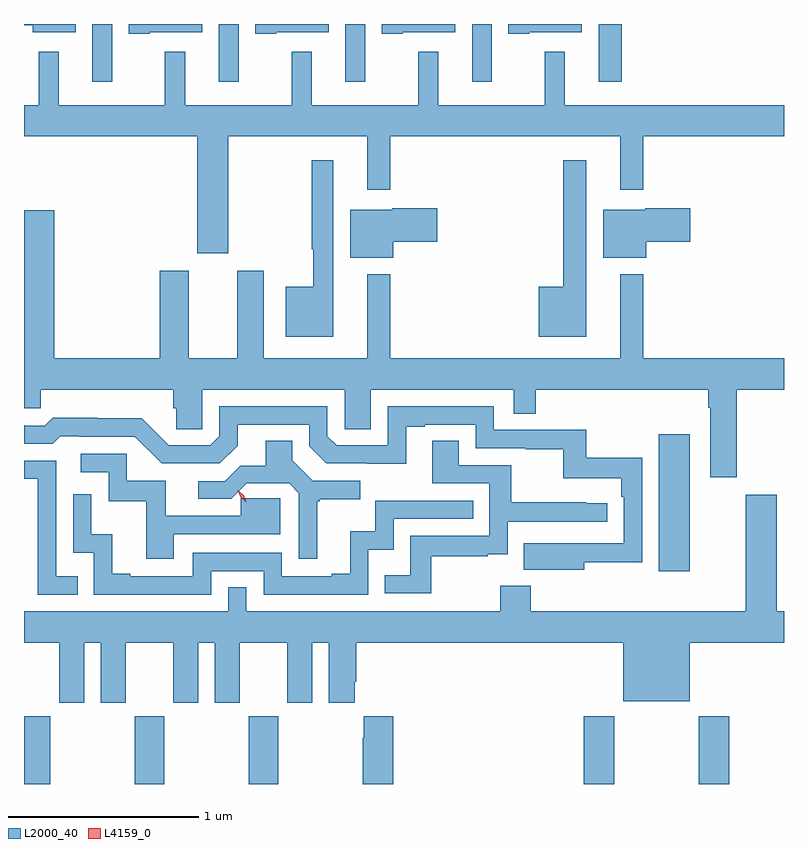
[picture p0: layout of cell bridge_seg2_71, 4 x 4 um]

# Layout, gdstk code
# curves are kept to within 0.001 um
import gdstk
lib = gdstk.Library(unit=1e-6, precision=1e-09)
def R(c, l, rs):  # rectangles x0, y0, x1, y1
    for r in rs: c.add(gdstk.rectangle(r[:2], r[2:], *l))
def A(c, l, x, y, w, h, nx, ny, dx, dy):  # array of equal rectangles
    R(c, l, [(x+i*dx, y+j*dy, x+i*dx+w, y+j*dy+h) for i in range(nx) for j in range(ny)])
def P(c, l, *ps):  # polygons
    for p in ps: c.add(gdstk.Polygon(p, *l))
L2000_40 = (2000, 40)
L4159_0 = (4159, 0)

bridge_seg2_71 = lib.new_cell('bridge_seg2_71')
A(bridge_seg2_71, L2000_40, 1143.809, 646.593, 0.104, 0.303, 4, 1, 0.666, 0)
R(bridge_seg2_71, L2000_40, [(1143.449,642.896,1143.588,643.252), (1144.033,642.896,1144.188,643.252), (1144.633,642.896,1144.788,643.252), (1146.395,642.896,1146.555,643.252), (1147,642.896,1147.16,643.252), (1146.791,644.016,1146.952,644.737), (1146.473,646.593,1146.595,646.896)])
P(bridge_seg2_71, L2000_40, [(1146.109,646.853),(1146.385,646.853),(1146.385,646.896),(1145.997,646.896),(1145.997,646.846),(1146.109,646.846)],
  [(1143.721,646.896),(1143.449,646.896),(1143.449,646.889),(1143.494,646.889),(1143.494,646.853),(1143.721,646.853)],
  [(1145.443,646.853),(1145.719,646.853),(1145.719,646.896),(1145.331,646.896),(1145.331,646.846),(1145.443,646.846)],
  [(1144.111,646.853),(1144.387,646.853),(1144.387,646.896),(1143.999,646.896),(1143.999,646.846),(1144.111,646.846)],
  [(1144.777,646.853),(1145.053,646.853),(1145.053,646.896),(1144.665,646.896),(1144.665,646.846),(1144.777,646.846)],
  [(1144.525,646.304),(1145.255,646.304),(1145.255,646.023),(1145.377,646.023),(1145.377,646.304),(1146.587,646.304),(1146.587,646.023),(1146.709,646.023),(1146.709,646.304),(1147.449,646.304),(1147.449,646.468),(1146.295,646.468),(1146.295,646.75),(1146.189,646.75),(1146.189,646.468),(1145.629,646.468),(1145.629,646.75),(1145.523,646.75),(1145.523,646.468),(1144.963,646.468),(1144.963,646.75),(1144.857,646.75),(1144.857,646.468),(1144.297,646.468),(1144.297,646.75),(1144.191,646.75),(1144.191,646.468),(1143.631,646.468),(1143.631,646.75),(1143.527,646.75),(1143.527,646.468),(1143.449,646.468),(1143.449,646.304),(1144.361,646.304),(1144.361,645.69),(1144.525,645.69)],
  [(1145.077,646.18),(1144.963,646.18),(1144.963,645.71),(1144.971,645.71),(1144.971,645.514),(1144.826,645.514),(1144.826,645.251),(1145.077,645.251)],
  [(1146.409,646.18),(1146.288,646.18),(1146.288,645.514),(1146.158,645.514),(1146.158,645.251),(1146.409,645.251)],
  [(1145.392,645.749),(1145.623,645.749),(1145.623,645.927),(1145.388,645.927),(1145.388,645.919),(1145.165,645.919),(1145.165,645.665),(1145.392,645.665)],
  [(1146.724,645.749),(1146.955,645.749),(1146.955,645.927),(1146.72,645.927),(1146.72,645.919),(1146.497,645.919),(1146.497,645.665),(1146.724,645.665)],
  [(1147.201,644.972),(1147.449,644.972),(1147.449,645.136),(1146.709,645.136),(1146.709,645.58),(1146.587,645.58),(1146.587,645.136),(1145.377,645.136),(1145.377,645.58),(1145.255,645.58),(1145.255,645.136),(1144.711,645.136),(1144.711,645.598),(1144.571,645.598),(1144.571,645.136),(1144.315,645.136),(1144.315,645.598),(1144.163,645.598),(1144.163,645.136),(1143.608,645.136),(1143.608,645.916),(1143.449,645.916),(1143.449,644.874),(1143.537,644.874),(1143.537,644.972),(1144.235,644.972),(1144.235,644.874),(1144.249,644.874),(1144.249,644.764),(1144.386,644.764),(1144.386,644.972),(1145.136,644.972),(1145.136,644.764),(1145.275,644.764),(1145.275,644.972),(1146.027,644.972),(1146.027,644.845),(1146.143,644.845),(1146.143,644.972),(1147.049,644.972),(1147.049,644.876),(1147.061,644.876),(1147.061,644.511),(1147.201,644.511)],
  [(1146.397,644.062),(1146.702,644.062),(1146.702,644.614),(1146.409,644.614),(1146.409,644.76),(1145.922,644.76),(1145.922,644.883),(1145.364,644.883),(1145.364,644.679),(1145.094,644.679),(1145.046,644.727),(1145.046,644.883),(1144.476,644.883),(1144.476,644.727),(1144.428,644.679),(1144.212,644.679),(1144.07,644.821),(1143.834,644.821),(1143.834,644.824),(1143.601,644.824),(1143.559,644.781),(1143.456,644.781),(1143.456,644.784),(1143.449,644.784),(1143.449,644.688),(1143.601,644.688),(1143.64,644.727),(1143.739,644.727),(1143.739,644.724),(1144.032,644.724),(1144.173,644.583),(1144.479,644.583),(1144.573,644.677),(1144.573,644.787),(1144.95,644.787),(1144.95,644.673),(1145.04,644.583),(1145.461,644.582),(1145.461,644.775),(1145.557,644.775),(1145.557,644.787),(1145.826,644.787),(1145.826,644.664),(1146.091,644.664),(1146.091,644.659),(1146.288,644.659),(1146.288,644.504),(1146.593,644.504),(1146.593,644.408),(1146.606,644.408),(1146.606,644.163),(1146.079,644.164),(1146.079,644.024),(1146.397,644.024)],
  [(1144.993,644.385),(1145.005,644.385),(1145.005,644.396),(1145.218,644.396),(1145.218,644.493),(1144.968,644.493),(1144.861,644.6),(1144.861,644.702),(1144.721,644.702),(1144.721,644.57),(1144.586,644.57),(1144.506,644.49),(1144.365,644.49),(1144.365,644.397),(1144.54,644.397),(1144.622,644.479),(1144.845,644.478),(1144.896,644.427),(1144.896,644.082),(1144.993,644.082)],
  [(1145.593,644.094),(1145.891,644.094),(1145.891,644.105),(1145.994,644.105),(1145.994,644.277),(1146.52,644.277),(1146.52,644.373),(1146.407,644.373),(1146.407,644.378),(1146.014,644.378),(1146.014,644.574),(1145.737,644.574),(1145.737,644.702),(1145.597,644.702),(1145.597,644.478),(1145.898,644.478),(1145.898,644.202),(1145.482,644.202),(1145.482,643.996),(1145.347,643.996),(1145.347,643.899),(1145.593,643.899)],
  [(1144.237,644.211),(1144.798,644.211),(1144.798,644.401),(1144.591,644.401),(1144.591,644.307),(1144.195,644.307),(1144.195,644.493),(1143.99,644.493),(1143.99,644.634),(1143.747,644.634),(1143.747,644.538),(1143.894,644.538),(1143.894,644.385),(1144.093,644.385),(1144.093,644.082),(1144.237,644.082)],
  [(1143.731,643.989),(1143.618,643.989),(1143.618,644.598),(1143.449,644.598),(1143.449,644.502),(1143.522,644.502),(1143.522,643.893),(1143.731,643.893)],
  [(1144.434,644.016),(1144.71,644.016),(1144.71,643.893),(1145.262,643.893),(1145.262,644.129),(1145.394,644.129),(1145.394,644.292),(1145.813,644.292),(1145.813,644.388),(1145.298,644.388),(1145.298,644.227),(1145.165,644.227),(1145.165,644.002),(1145.069,644.002),(1145.069,643.989),(1144.806,643.989),(1144.806,644.112),(1144.338,644.112),(1144.338,643.989),(1144.009,643.989),(1144.009,644.002),(1143.914,644.002),(1143.914,644.21),(1143.804,644.21),(1143.804,644.422),(1143.708,644.422),(1143.708,644.112),(1143.816,644.112),(1143.816,643.893),(1144.434,643.893)],
  [(1143.766,643.64),(1143.854,643.64),(1143.854,643.323),(1143.985,643.323),(1143.985,643.64),(1144.235,643.64),(1144.235,643.323),(1144.366,643.323),(1144.366,643.64),(1144.454,643.64),(1144.454,643.323),(1144.585,643.323),(1144.585,643.64),(1144.835,643.64),(1144.835,643.323),(1144.966,643.323),(1144.966,643.64),(1145.054,643.64),(1145.054,643.323),(1145.191,643.323),(1145.191,643.435),(1145.198,643.435),(1145.198,643.64),(1146.602,643.64),(1146.602,643.331),(1146.952,643.331),(1146.952,643.64),(1147.449,643.64),(1147.449,643.804),(1147.411,643.804),(1147.411,644.419),(1147.247,644.419),(1147.247,643.804),(1146.116,643.804),(1146.116,643.939),(1145.956,643.939),(1145.956,643.804),(1144.62,643.804),(1144.62,643.931),(1144.524,643.931),(1144.524,643.804),(1143.449,643.804),(1143.449,643.64),(1143.635,643.64),(1143.635,643.323),(1143.766,643.323)],
  [(1145.393,643.252),(1145.237,643.252),(1145.237,643.139),(1145.233,643.139),(1145.233,642.896),(1145.393,642.896)])
P(bridge_seg2_71, L4159_0, [(1144.62,644.379),(1144.589,644.405),(1144.574,644.443),(1144.574,644.443),(1144.575,644.443),(1144.605,644.417),(1144.62,644.379),(1144.62,644.379)])

lib.write_gds('bridge_seg2_71.gds')
